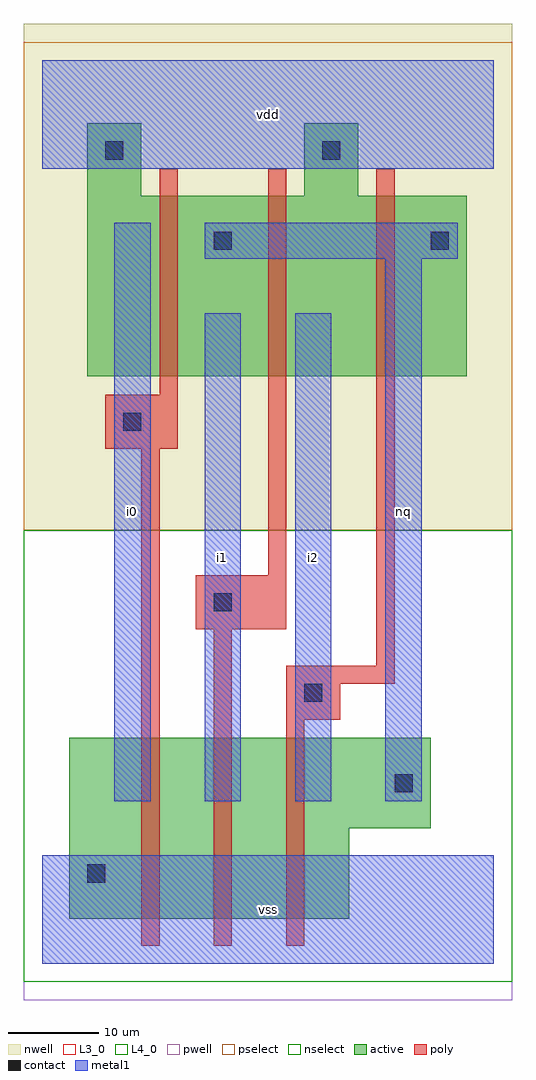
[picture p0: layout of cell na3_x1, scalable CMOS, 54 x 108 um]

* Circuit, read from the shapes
.subckt na3_x1 i0 i1 i2 nq vdd vss
M1 n1 i0 vss VSUBS nfet w=20u l=2u
M2 n2 i1 n1 VSUBS nfet w=20u l=2u
M3 nq i2 n2 VSUBS nfet w=20u l=2u
M4 nq i0 vdd n3 pfet w=20u l=2u
M5 vdd i1 nq n3 pfet w=20u l=2u
M6 nq i2 vdd n3 pfet w=20u l=2u
.ends

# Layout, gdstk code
import gdstk
lib = gdstk.Library(unit=1e-6, precision=1e-09)
def R(c, l, rs):  # rectangles x0, y0, x1, y1
    for r in rs: c.add(gdstk.rectangle(r[:2], r[2:], *l))
L3_0 = (3, 0)
L4_0 = (4, 0)
contact = (25, 0)
pwell = (41, 0)
nwell = (42, 0)
active = (43, 0)
pselect = (44, 0)
nselect = (45, 0)
poly = (46, 0)
metal1 = (49, 0)

na3_x1 = lib.new_cell('na3_x1')
R(na3_x1, L3_0, [(3,5,34,15), (3,15,43,25)])
R(na3_x1, L4_0, [(5,65,47,85), (5,85,11,93), (29,85,35,93)])
R(na3_x1, contact, [(5,9,7,11), (39,19,41,21), (29,29,31,31), (19,39,21,41), (9,59,11,61), (19,79,21,81), (43,79,45,81), (7,89,9,91), (31,89,33,91)])
R(na3_x1, pwell, [(-2,-4,52,48)])
R(na3_x1, nwell, [(-2,48,52,104)])
R(na3_x1, active, [(3,5,34,15), (3,15,43,25), (5,65,47,85), (5,85,11,93), (29,85,35,93)])
R(na3_x1, pselect, [(-2,48,52,102)])
R(na3_x1, nselect, [(-2,-2,52,48)])
R(na3_x1, poly, [(11,2,13,57), (19,2,21,37), (27,2,29,27), (27,27,33,31), (27,31,39,33), (37,33,39,88), (17,37,27,43), (25,43,27,88), (7,57,15,63), (13,63,15,88)])
R(na3_x1, metal1, [(0,0,50,12), (8,18,12,82), (18,18,22,72), (28,18,32,72), (38,18,42,78), (18,78,46,82), (0,88,50,100)])
na3_x1.add(gdstk.Label('i1', (20,45), layer=49, texttype=0))
na3_x1.add(gdstk.Label('i0', (10,50), layer=49, texttype=0))
na3_x1.add(gdstk.Label('vss', (25,6), layer=49, texttype=0))
na3_x1.add(gdstk.Label('i2', (30,45), layer=49, texttype=0))
na3_x1.add(gdstk.Label('vdd', (25,94), layer=49, texttype=0))
na3_x1.add(gdstk.Label('nq', (40,50), layer=49, texttype=0))

lib.write_gds('na3_x1.gds')
